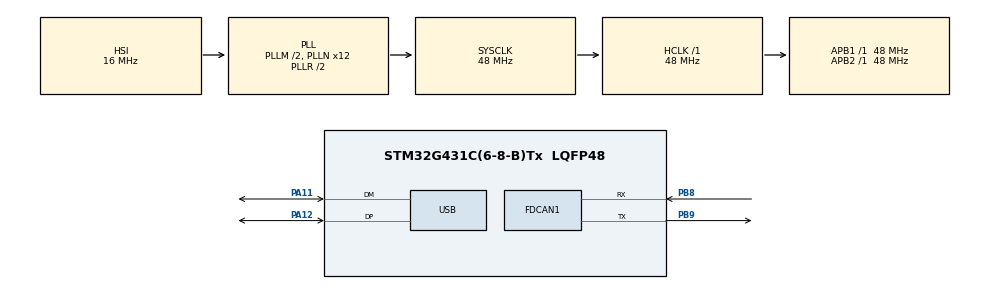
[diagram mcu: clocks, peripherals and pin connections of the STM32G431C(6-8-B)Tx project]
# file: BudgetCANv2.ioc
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FDCAN1.DataPrescaler=6
FDCAN1.DataTimeSeg1=13
FDCAN1.DataTimeSeg2=2
FDCAN1.NominalPrescaler=6
FDCAN1.NominalTimeSeg1=13
Mcu.Family=STM32G4
Mcu.Name=STM32G431C(6-8-B)Tx
Mcu.Package=LQFP48
NVIC.PriorityGroup=NVIC_PRIORITYGROUP_4
NVIC.USB_LP_IRQn=true\:0\:0\:false\:false\:true\:false\:true
PA11.Mode=Device
PA11.Signal=USB_DM
PA12.Mode=Device
PA12.Signal=USB_DP
PB8-BOOT0.Mode=FDCANMaster
PB8-BOOT0.Signal=FDCAN1_RX
PB9.Mode=FDCANMaster
PB9.Signal=FDCAN1_TX
ProjectManager.HeapSize=0x200
ProjectManager.StackSize=0x400
ProjectManager.TargetToolchain=Other Toolchains (GPDSC)
RCC.ADC12Freq_Value=48000000
RCC.AHBFreq_Value=48000000
RCC.APB1Freq_Value=48000000
RCC.APB1TimFreq_Value=48000000
RCC.APB2Freq_Value=48000000
RCC.APB2TimFreq_Value=48000000
RCC.CortexFreq_Value=48000000
RCC.EXTERNAL_CLOCK_VALUE=12288000
RCC.HCLKFreq_Value=48000000
RCC.HSE_VALUE=8000000
RCC.HSI48_VALUE=48000000
RCC.HSI_VALUE=16000000
RCC.LSE_VALUE=32768
RCC.PLLM=RCC_PLLM_DIV2
RCC.PLLN=12
RCC.SYSCLKFreq_VALUE=48000000
RCC.SYSCLKSource=RCC_SYSCLKSOURCE_PLLCLK
RCC.USBFreq_Value=48000000
RCC.VCOOutputFreq_Value=96000000
USB_DEVICE.CLASS_NAME_FS=CDC
USB_DEVICE.VirtualMode=Cdc
USB_DEVICE.VirtualModeFS=Cdc_FS
VP_SYS_VS_DBSignals.Mode=DisableDeadBatterySignals
VP_USB_DEVICE_VS_USB_DEVICE_CDC_FS.Mode=CDC_FS
board=custom

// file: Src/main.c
/* USER CODE BEGIN Header */
/**
  ******************************************************************************
  * @file           : main.c
  * @brief          : Main program body
  ******************************************************************************
  * @attention
  *
  * <h2><center>&copy; Copyright (c) 2020 STMicroelectronics.
  * All rights reserved.</center></h2>
  *
  * This software component is licensed by ST under Ultimate Liberty license
  * SLA0044, the "License"; You may not use this file except in compliance with
  * the License. You may obtain a copy of the License at:
  *                             www.st.com/SLA0044
  *
  ******************************************************************************
  */
/* USER CODE END Header */

#include "main.h"

/* USER CODE BEGIN Includes */
#include <stdlib.h>
#include <string.h>

#include "config.h"
#include "usbd_def.h"
#include "usbd_desc.h"
#include "usbd_core.h"
#include "usbd_gs_can.h"
#include "gpio.h"
#include "queue.h"
#include "gs_usb.h"
#include "can.h"
#include "led.h"
#include "dfu.h"
#include "timer.h"
#include "flash.h"
/* USER CODE END Includes */

FDCAN_HandleTypeDef hfdcan1;

/* USER CODE BEGIN PV */
FDCAN_ProtocolStatusTypeDef FDCAN_Status;

USBD_HandleTypeDef hUSB;
led_data_t hLED;

queue_t *q_frame_pool;
queue_t *q_from_host;
queue_t *q_to_host;

uint32_t received_count = 0;

/* USER CODE END PV */

void SystemClock_Config(void);
static void MX_GPIO_Init(void);
static void MX_FDCAN1_Init(void);
/* USER CODE BEGIN PFP */
static void FDCAN_Config(void);
static bool send_to_host_or_enqueue(struct gs_host_frame *frame);
static void send_to_host();
/* USER CODE END PFP */

int main(void)
{

    /* MCU Configuration--------------------------------------------------------*/

    /* Reset of all peripherals, Initializes the Flash interface and the Systick. */
    HAL_Init();

    /* Configure the system clock */
    SystemClock_Config();

    /* Initialize all configured peripherals */
    MX_GPIO_Init();
    MX_FDCAN1_Init();

    /* USER CODE BEGIN 2 */
    /* Configure the FDCAN peripheral */
    //TODO: Fix this - currently defaulting to 7 to prevent access to CAN before it's started
    uint32_t last_can_error_status = 7;

    flash_load();

    gpio_init();

    led_init(&hLED, LED1_GPIO_Port, LED1_Pin, LED1_Active_High, LED2_GPIO_Port, LED2_Pin, LED2_Active_High);
    led_set_mode(&hLED, led_mode_off);
    timer_init();

    can_init(&hfdcan1, FDCAN1);
    can_disable(&hfdcan1);

    q_frame_pool = queue_create(CAN_QUEUE_SIZE);
    q_from_host  = queue_create(CAN_QUEUE_SIZE);
    q_to_host    = queue_create(CAN_QUEUE_SIZE);

    struct gs_host_frame *msgbuf = calloc(CAN_QUEUE_SIZE, sizeof(struct gs_host_frame));
    for (unsigned i = 0; i < CAN_QUEUE_SIZE; i++) {
        queue_push_back(q_frame_pool, &msgbuf[i]);
    }

    USBD_Init(&hUSB, &FS_Desc, DEVICE_FS);
    USBD_RegisterClass(&hUSB, &USBD_GS_CAN);
    USBD_GS_CAN_Init(&hUSB, q_frame_pool, q_from_host, &hLED);
    USBD_GS_CAN_SetChannel(&hUSB, 0, &hfdcan1);
    USBD_Start(&hUSB);

    /* USER CODE END 2 */

    /* Infinite loop */
    /* USER CODE BEGIN WHILE */
    while (1)
    {
        struct gs_host_frame *frame = queue_pop_front(q_from_host);
        if (frame != 0)
        {
            // send can message from host
            if(can_send(&hfdcan1, frame))
            {
                // Echo sent frame back to host
                frame->timestamp_us = timer_get();
                send_to_host_or_enqueue(frame);

                led_indicate_trx(&hLED, led_2);
            }
            else
            {
                queue_push_front(q_from_host, frame);   // retry later
            }
        }

        if (USBD_GS_CAN_TxReady(&hUSB))
        {
            send_to_host();
        }

        if (HAL_FDCAN_GetRxFifoFillLevel(&hfdcan1, FDCAN_RX_FIFO0) >= 1)
        {
            struct gs_host_frame *frame = queue_pop_front(q_frame_pool);
            if (frame != 0)
            {
                if (can_receive(&hfdcan1, frame))
                {
                    received_count++;

                    frame->timestamp_us = timer_get();
                    frame->echo_id = 0xFFFFFFFF;   // not a echo frame
                    frame->channel = 0;
                    frame->flags = 0;
                    frame->reserved = 0;

                    send_to_host_or_enqueue(frame);

                    led_indicate_trx(&hLED, led_1);
                }
                else
                {
                    queue_push_back(q_frame_pool, frame);
                }
            }
        }

        //TODO: Make this better - currently hacked together to get it to work - use the new error codes correctly
        can_get_error_status(&hfdcan1, &FDCAN_Status);
        if (FDCAN_Status.LastErrorCode != last_can_error_status) {
            struct gs_host_frame *frame = queue_pop_front(q_frame_pool);
            if (frame != 0)
            {
                frame->timestamp_us = timer_get();
                if (can_parse_error_status(&FDCAN_Status, frame))
                {
                    send_to_host_or_enqueue(frame);
                    last_can_error_status = FDCAN_Status.LastErrorCode;
                }
                else
                {
                    queue_push_back(q_frame_pool, frame);
                }

            }
        }

        led_update(&hLED);

        if (USBD_GS_CAN_DfuDetachRequested(&hUSB)) {
            dfu_run_bootloader();
        }
        /* USER CODE END WHILE */

    }
}

void SystemClock_Config(void)
{
    RCC_OscInitTypeDef RCC_OscInitStruct = { 0 };
    RCC_ClkInitTypeDef RCC_ClkInitStruct = { 0 };
    RCC_PeriphCLKInitTypeDef PeriphClkInit = { 0 };

    /** Configure the main internal regulator output voltage
    */
    HAL_PWREx_ControlVoltageScaling(PWR_REGULATOR_VOLTAGE_SCALE1);
    /** Initializes the CPU, AHB and APB busses clocks
    */
    RCC_OscInitStruct.OscillatorType = RCC_OSCILLATORTYPE_HSI;
    RCC_OscInitStruct.HSIState = RCC_HSI_ON;
    RCC_OscInitStruct.HSICalibrationValue = RCC_HSICALIBRATION_DEFAULT;
    RCC_OscInitStruct.PLL.PLLState = RCC_PLL_ON;
    RCC_OscInitStruct.PLL.PLLSource = RCC_PLLSOURCE_HSI;
    RCC_OscInitStruct.PLL.PLLM = RCC_PLLM_DIV2;
    RCC_OscInitStruct.PLL.PLLN = 12;
    RCC_OscInitStruct.PLL.PLLP = RCC_PLLP_DIV2;
    RCC_OscInitStruct.PLL.PLLQ = RCC_PLLQ_DIV2;
    RCC_OscInitStruct.PLL.PLLR = RCC_PLLR_DIV2;
    if (HAL_RCC_OscConfig(&RCC_OscInitStruct) != HAL_OK)
    {
        Error_Handler();
    }
    /** Initializes the CPU, AHB and APB busses clocks
    */
    RCC_ClkInitStruct.ClockType = RCC_CLOCKTYPE_HCLK | RCC_CLOCKTYPE_SYSCLK
                                | RCC_CLOCKTYPE_PCLK1 | RCC_CLOCKTYPE_PCLK2;
    RCC_ClkInitStruct.SYSCLKSource = RCC_SYSCLKSOURCE_PLLCLK;
    RCC_ClkInitStruct.AHBCLKDivider = RCC_SYSCLK_DIV1;
    RCC_ClkInitStruct.APB1CLKDivider = RCC_HCLK_DIV1;
    RCC_ClkInitStruct.APB2CLKDivider = RCC_HCLK_DIV1;

    if (HAL_RCC_ClockConfig(&RCC_ClkInitStruct, FLASH_LATENCY_2) != HAL_OK)
    {
        Error_Handler();
    }
    /** Initializes the peripherals clocks
    */
    PeriphClkInit.PeriphClockSelection = RCC_PERIPHCLK_USB | RCC_PERIPHCLK_FDCAN;
    PeriphClkInit.FdcanClockSelection = RCC_FDCANCLKSOURCE_PCLK1;
    PeriphClkInit.UsbClockSelection = RCC_USBCLKSOURCE_PLL;
    if (HAL_RCCEx_PeriphCLKConfig(&PeriphClkInit) != HAL_OK)
    {
        Error_Handler();
    }
}

static void MX_FDCAN1_Init(void)
{

    hfdcan1.Instance = FDCAN1;
    hfdcan1.Init.ClockDivider = FDCAN_CLOCK_DIV1;
    hfdcan1.Init.FrameFormat = FDCAN_FRAME_CLASSIC;
    hfdcan1.Init.Mode = FDCAN_MODE_NORMAL;
    hfdcan1.Init.AutoRetransmission = DISABLE;
    hfdcan1.Init.TransmitPause = DISABLE;
    hfdcan1.Init.ProtocolException = DISABLE;
    hfdcan1.Init.NominalPrescaler = 6;
    hfdcan1.Init.NominalSyncJumpWidth = 1;
    hfdcan1.Init.NominalTimeSeg1 = 13;
    hfdcan1.Init.NominalTimeSeg2 = 2;
    hfdcan1.Init.DataPrescaler = 6;
    hfdcan1.Init.DataSyncJumpWidth = 1;
    hfdcan1.Init.DataTimeSeg1 = 13;
    hfdcan1.Init.DataTimeSeg2 = 2;
    hfdcan1.Init.StdFiltersNbr = 0;
    hfdcan1.Init.ExtFiltersNbr = 0;
    hfdcan1.Init.TxFifoQueueMode = FDCAN_TX_FIFO_OPERATION;
    if (HAL_FDCAN_Init(&hfdcan1) != HAL_OK)
    {
        Error_Handler();
    }

}

static void MX_GPIO_Init(void)
{

    /* GPIO Ports Clock Enable */
    __HAL_RCC_GPIOA_CLK_ENABLE();
    __HAL_RCC_GPIOB_CLK_ENABLE();

}

/* USER CODE BEGIN 4 */
bool send_to_host_or_enqueue(struct gs_host_frame *frame)
{
    if (USBD_GS_CAN_GetProtocolVersion(&hUSB) == 2) {
        queue_push_back(q_to_host, frame);
        return true;

    }
    else {
        bool retval = false;
        if (USBD_GS_CAN_SendFrame(&hUSB, frame) == USBD_OK) {
            queue_push_back(q_frame_pool, frame);
            retval = true;
        }
        else {
            queue_push_back(q_to_host, frame);
        }
        return retval;
    }
}

void send_to_host()
{
    struct gs_host_frame *frame = queue_pop_front(q_to_host);

    if (!frame)
        return;

    if (USBD_GS_CAN_SendFrame(&hUSB, frame) == USBD_OK) {
        queue_push_back(q_frame_pool, frame);
    }
    else {
        queue_push_front(q_to_host, frame);
    }
}
/* USER CODE END 4 */

void Error_Handler(void)
{
}

/************************ (C) COPYRIGHT STMicroelectronics *****END OF FILE****/
